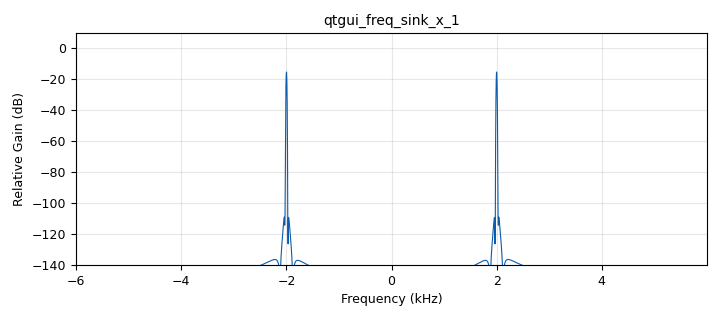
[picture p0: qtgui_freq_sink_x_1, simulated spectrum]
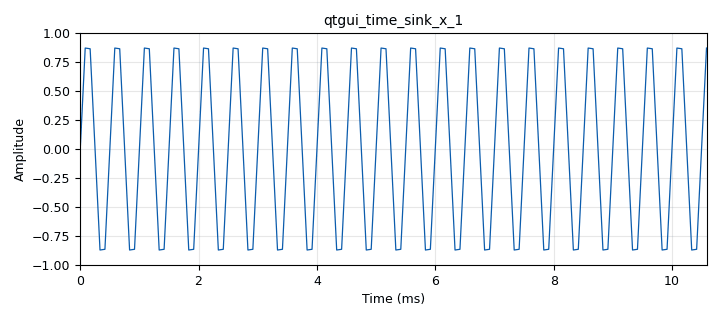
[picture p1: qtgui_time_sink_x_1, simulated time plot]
options:
  parameters:
    generate_options: qt_gui
    id: top_block
    output_language: python
  states: {}

blocks:
- name: freq
  id: variable_qtgui_range
  parameters:
    label: frequency
    orient: Qt.Horizontal
    start: '1000'
    step: '1000'
    stop: '40000'
    value: '2000'
  states: {}
- name: samp_rate
  id: variable_qtgui_range
  parameters:
    label: Frecuencia de muestreo
    orient: Qt.Horizontal
    start: '1000'
    step: '1000'
    stop: '80000'
    value: '12000'
  states: {}
- name: samp_rate
  id: variable
  parameters:
    value: '32000'
  states: {state: disabled}
- name: analog_sig_source_x_1
  id: analog_sig_source_x
  parameters:
    amp: '1'
    freq: '2000'
    offset: '0'
    phase: '0'
    samp_rate: samp_rate
    type: float
    waveform: analog.GR_SIN_WAVE
  states: {}
- name: blocks_throttle_1
  id: blocks_throttle
  parameters:
    samples_per_second: samp_rate
    type: float
  states: {}
- name: qtgui_freq_sink_x_1
  id: qtgui_freq_sink_x
  parameters:
    bw: samp_rate
    fc: '0'
    fftsize: '2048'
    showports: 'True'
    type: float
    wintype: firdes.WIN_BLACKMAN_hARRIS
  states: {}
- name: qtgui_time_sink_x_1
  id: qtgui_time_sink_x
  parameters:
    label1: ''
    size: '128'
    srate: samp_rate
    type: float
  states: {}

connections:
- [analog_sig_source_x_1, '0', blocks_throttle_1, '0']
- [blocks_throttle_1, '0', qtgui_freq_sink_x_1, '0']
- [blocks_throttle_1, '0', qtgui_time_sink_x_1, '0']

metadata:
  file_format: 1
